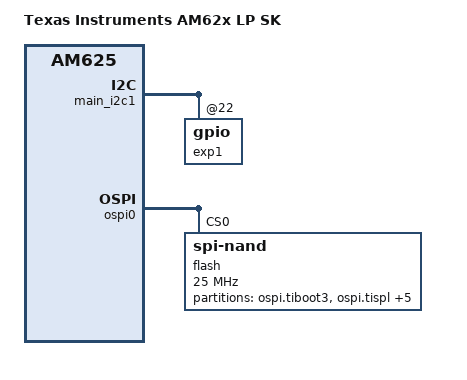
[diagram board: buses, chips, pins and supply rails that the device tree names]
// SPDX-License-Identifier: GPL-2.0
/*
 * AM62x LP SK dts
 *
 * Copyright (C) 2021-2022 Texas Instruments Incorporated - https://www.ti.com/
 */

/dts-v1/;

#include "k3-am62x-sk-common.dtsi"

/ {
	compatible =  "ti,am625-sk", "ti,am625";
	model = "Texas Instruments AM62x LP SK";
};

&main_i2c1 {
	exp1: gpio@22 {
		gpio-line-names = "GPIO_CPSW2_RST", "GPIO_CPSW1_RST",
				   "PRU_DETECT", "MMC1_SD_EN",
				   "VPP_LDO_EN", "EXP_PS_3V3_En",
				   "EXP_PS_5V0_En", "EXP_HAT_DETECT",
				   "GPIO_AUD_RSTn", "GPIO_eMMC_RSTn",
				   "UART1_FET_BUF_EN", "BT_UART_WAKE_SOC",
				   "GPIO_HDMI_RSTn", "CSI_GPIO0",
				   "CSI_GPIO1", "GPIO_OLDI_INT",
				   "HDMI_INTn", "TEST_GPIO2",
				   "MCASP1_FET_EN", "MCASP1_BUF_BT_EN",
				   "MCASP1_FET_SEL", "UART1_FET_SEL",
				   "", "IO_EXP_TEST_LED";
	};
};

&ospi0 {
	flash@0{
		compatible = "spi-nand";
		reg = <0x0>;
		spi-tx-bus-width = <8>;
		spi-rx-bus-width = <8>;
		spi-max-frequency = <25000000>;
		cdns,tshsl-ns = <60>;
		cdns,tsd2d-ns = <60>;
		cdns,tchsh-ns = <60>;
		cdns,tslch-ns = <60>;
		cdns,read-delay = <2>;
		cdns,phy-mode;

		partitions {
			compatible = "fixed-partitions";
			#address-cells = <1>;
			#size-cells = <1>;

			partition@0 {
				label = "ospi.tiboot3";
				reg = <0x0 0x80000>;
			};

			partition@80000 {
				label = "ospi.tispl";
				reg = <0x80000 0x200000>;
			};

			partition@280000 {
				label = "ospi.u-boot";
				reg = <0x280000 0x400000>;
			};

			partition@680000 {
				label = "ospi.env";
				reg = <0x680000 0x40000>;
			};

			partition@6c0000 {
				label = "ospi.env.backup";
				reg = <0x6c0000 0x40000>;
			};

			partition@800000 {
				label = "ospi.rootfs";
				reg = <0x800000 0x77c0000>;
			};

			partition@7fc0000 {
				label = "ospi.phypattern";
				reg = <0x7fc0000 0x40000>;
			};
		};
	};
};
